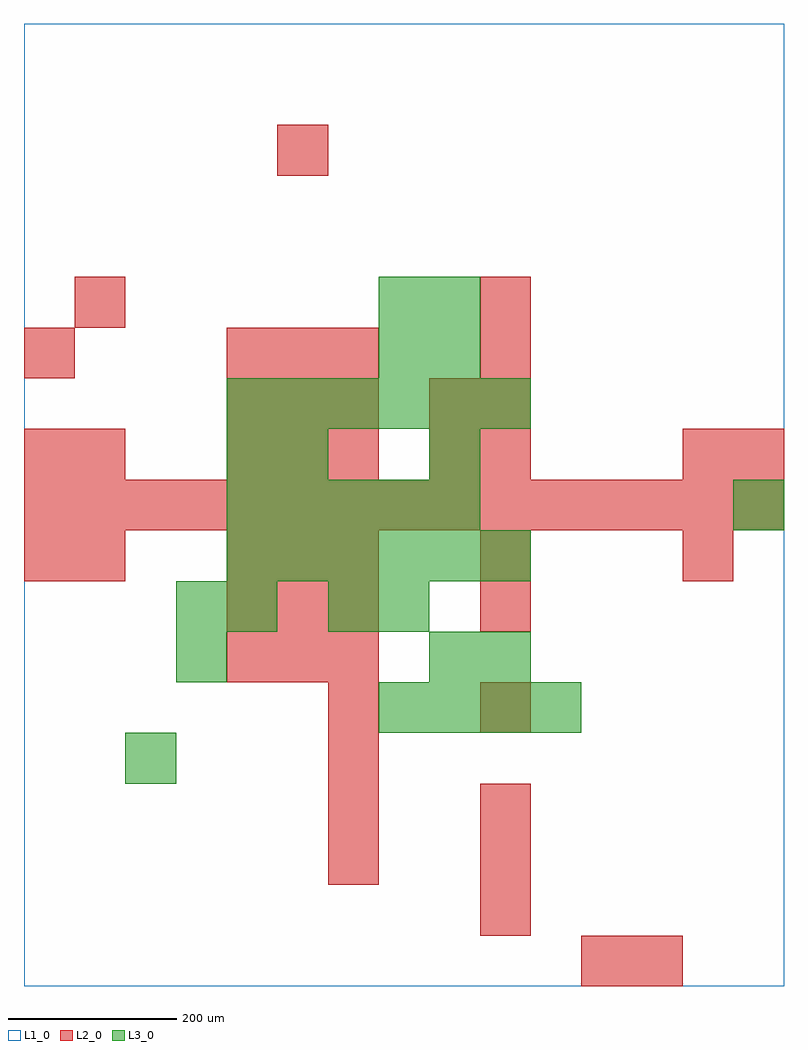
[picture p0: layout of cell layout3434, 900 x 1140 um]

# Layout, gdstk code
import gdstk
lib = gdstk.Library(unit=1e-6, precision=1e-09)
def R(c, l, rs):  # rectangles x0, y0, x1, y1
    for r in rs: c.add(gdstk.rectangle(r[:2], r[2:], *l))
def A(c, l, x, y, w, h, nx, ny, dx, dy):  # array of equal rectangles
    R(c, l, [(x+i*dx, y+j*dy, x+i*dx+w, y+j*dy+h) for i in range(nx) for j in range(ny)])
L1_0 = (1, 0)
L2_0 = (2, 0)
L3_0 = (3, 0)

layout3434 = lib.new_cell('layout3434')
R(layout3434, L1_0, [(0,0,900,1140)])
A(layout3434, L2_0, 540, 60, 60, 60, 1, 3, 0, 60)
A(layout3434, L2_0, 360, 120, 60, 60, 1, 4, 0, 60)
A(layout3434, L2_0, 240, 360, 60, 60, 3, 3, 60, 60)
A(layout3434, L2_0, 0, 480, 60, 60, 1, 3, 0, 120)
A(layout3434, L2_0, 0, 540, 60, 60, 15, 1, 60, 0)
A(layout3434, L2_0, 240, 600, 60, 60, 3, 3, 60, 60)
A(layout3434, L2_0, 540, 600, 60, 60, 1, 4, 0, 60)
R(layout3434, L2_0, [(660,0,720,60), (720,0,780,60), (540,300,600,360), (540,420,600,480), (60,480,120,540), (540,480,600,540), (780,480,840,540), (60,600,120,660), (480,600,540,660), (780,600,840,660), (840,600,900,660), (480,660,540,720), (60,780,120,840), (300,960,360,1020)])
A(layout3434, L3_0, 420, 300, 60, 60, 4, 1, 60, 0)
A(layout3434, L3_0, 240, 480, 60, 60, 6, 2, 60, 180)
A(layout3434, L3_0, 240, 540, 60, 60, 5, 1, 60, 0)
R(layout3434, L3_0, [(120,240,180,300), (180,360,240,420), (480,360,540,420), (540,360,600,420), (180,420,240,480), (240,420,300,480), (360,420,420,480), (420,420,480,480), (840,540,900,600), (240,600,300,660), (300,600,360,660), (480,600,540,660), (420,720,480,780), (480,720,540,780), (420,780,480,840), (480,780,540,840)])

lib.write_gds('layout3434.gds')
